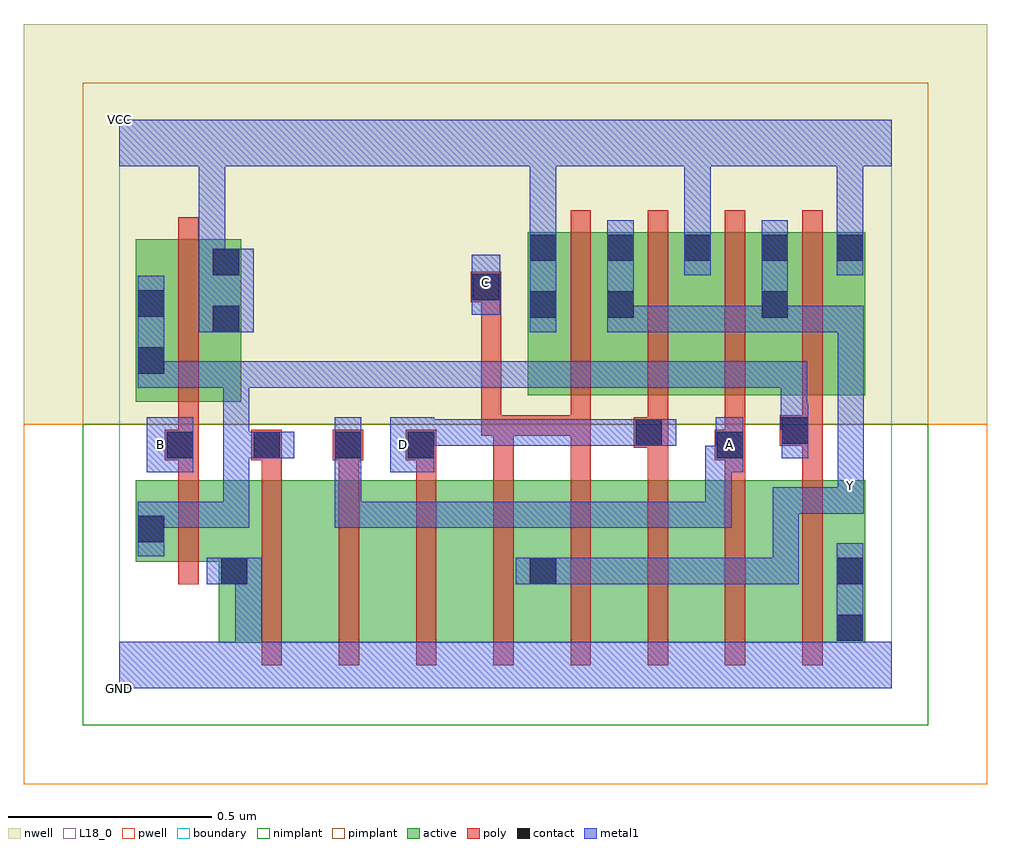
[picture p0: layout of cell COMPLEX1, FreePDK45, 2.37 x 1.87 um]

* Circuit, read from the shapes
.subckt COMPLEX1 A B C D GND VCC Y
M1 GND B n1 VSUBS nfet w=0.2u l=0.05u
M2 n2 n1 GND VSUBS nfet w=0.4u l=0.05u
M3 n3 A n2 VSUBS nfet w=0.4u l=0.05u
M4 n4 D n3 VSUBS nfet w=0.4u l=0.05u
M5 Y C n4 VSUBS nfet w=0.4u l=0.05u
M6 n5 C Y VSUBS nfet w=0.4u l=0.05u
M7 n6 D n5 VSUBS nfet w=0.4u l=0.05u
M8 n7 A n6 VSUBS nfet w=0.4u l=0.05u
M9 GND n1 n7 VSUBS nfet w=0.4u l=0.05u
M10 VCC B n1 n8 pfet w=0.4u l=0.05u
M11 Y C VCC n8 pfet w=0.4u l=0.05u
M12 VCC D Y n8 pfet w=0.4u l=0.05u
M13 Y A VCC n8 pfet w=0.4u l=0.05u
M14 VCC n1 Y n8 pfet w=0.4u l=0.05u
.ends

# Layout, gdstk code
import gdstk
lib = gdstk.Library(unit=1e-6, precision=1e-09)
def R(c, l, rs):  # rectangles x0, y0, x1, y1
    for r in rs: c.add(gdstk.rectangle(r[:2], r[2:], *l))
def A(c, l, x, y, w, h, nx, ny, dx, dy):  # array of equal rectangles
    R(c, l, [(x+i*dx, y+j*dy, x+i*dx+w, y+j*dy+h) for i in range(nx) for j in range(ny)])
active = (1, 0)
pwell = (2, 0)
nwell = (3, 0)
nimplant = (4, 0)
pimplant = (5, 0)
poly = (9, 0)
contact = (10, 0)
metal1 = (11, 0)
L18_0 = (18, 0)
boundary = (235, 0)

complex1 = lib.new_cell('COMPLEX1')
A(complex1, active, 1.005, 0.722, 0.265, 0.4, 3, 1, 0.19, 0)
R(complex1, active, [(0.245,0.112,0.47,0.512), (0.47,0.112,0.66,0.512), (0.66,0.112,0.85,0.512), (0.85,0.112,1.08,0.512), (1.005,0.112,1.23,0.512), (1.23,0.112,1.42,0.512), (1.42,0.112,1.61,0.512), (1.61,0.112,1.835,0.512), (1.76,0.112,1.835,0.512), (1.005,0.195,1.08,0.492), (0.245,0.252,0.32,0.327), (0.04,0.312,0.32,0.512), (0.04,0.355,0.115,0.512), (0.04,0.705,0.115,1.105), (0.04,0.705,0.3,1.105), (0.225,0.705,0.3,1.105), (1.575,0.722,1.835,1.122), (1.76,0.722,1.835,1.122), (1.005,0.755,1.08,1.122), (1.195,0.802,1.27,1.122), (1.575,0.802,1.65,1.122), (1.385,0.907,1.46,1.122)])
R(complex1, pwell, [(-0.235,-0.235,2.135,0.65)])
R(complex1, nwell, [(-0.235,0.65,2.135,1.635)])
R(complex1, nimplant, [(-0.09,-0.09,1.99,0.65)])
R(complex1, pimplant, [(-0.09,0.65,1.99,1.49)])
A(complex1, poly, 0.35, 0.057, 0.05, 0.51, 8, 1, 0.19, 0)
A(complex1, poly, 0.35, 0.517, 0.05, 0.095, 3, 1, 0.19, 0)
A(complex1, poly, 1.11, 0.667, 0.05, 0.51, 4, 1, 0.19, 0)
R(complex1, poly, [(0.145,0.257,0.195,0.567), (0.145,0.517,0.195,0.612), (0.92,0.517,0.97,0.672), (1.11,0.517,1.16,0.672), (1.3,0.517,1.35,0.642), (1.49,0.517,1.54,0.612), (1.68,0.517,1.73,0.647), (0.112,0.562,0.195,0.637), (0.325,0.562,0.4,0.637), (0.525,0.562,0.6,0.637), (0.705,0.562,0.78,0.637), (1.465,0.562,1.54,0.637), (0.145,0.587,0.195,0.7), (1.49,0.587,1.54,0.717), (1.265,0.592,1.35,0.667), (1.625,0.597,1.73,0.672), (1.3,0.617,1.35,0.717), (0.89,0.622,0.94,1), (0.89,0.622,0.955,0.672), (0.905,0.622,0.955,0.672), (0.905,0.622,0.97,0.672), (0.92,0.622,1.16,0.672), (0.92,0.622,0.97,0.672), (0.92,0.622,0.97,0.672), (1.11,0.622,1.16,0.717), (1.11,0.622,1.16,0.672), (1.68,0.622,1.73,0.717), (0.145,0.65,0.195,1.16), (0.865,0.95,0.94,1.025)])
A(complex1, contact, 1.01, 1.052, 0.065, 0.065, 4, 1, 0.19, 0)
R(complex1, contact, [(1.765,0.117,1.83,0.182), (0.25,0.257,0.315,0.322), (1.01,0.257,1.075,0.322), (1.765,0.257,1.83,0.322), (0.045,0.36,0.11,0.425), (0.117,0.567,0.182,0.632), (0.33,0.567,0.395,0.632), (0.53,0.567,0.595,0.632), (0.71,0.567,0.775,0.632), (1.47,0.567,1.535,0.632), (1.27,0.597,1.335,0.662), (1.63,0.602,1.695,0.667), (0.045,0.775,0.11,0.84), (0.23,0.877,0.295,0.942), (1.01,0.912,1.075,0.977), (1.2,0.912,1.265,0.977), (1.58,0.912,1.645,0.977), (0.045,0.915,0.11,0.98), (0.87,0.955,0.935,1.02), (0.23,1.017,0.295,1.082), (1.765,1.052,1.83,1.117)])
R(complex1, metal1, [(0,0,1.9,0.115), (0.285,0.05,0.35,0.322), (1.765,0.05,1.83,0.147), (1.765,0.082,1.83,0.357), (0.215,0.257,0.35,0.322), (0.975,0.257,1.11,0.322), (1.045,0.257,1.11,0.322), (1.045,0.257,1.11,0.322), (1.045,0.257,1.317,0.322), (1.252,0.257,1.317,0.322), (1.252,0.257,1.317,0.322), (1.252,0.257,1.317,0.322), (1.252,0.257,1.507,0.322), (1.442,0.257,1.507,0.322), (1.442,0.257,1.507,0.322), (1.442,0.257,1.507,0.322), (1.442,0.257,1.672,0.322), (1.607,0.257,1.672,0.322), (1.607,0.257,1.672,0.495), (0.045,0.325,0.11,0.46), (0.045,0.395,0.11,0.46), (0.045,0.395,0.11,0.46), (0.045,0.395,0.32,0.46), (0.255,0.395,0.32,0.46), (0.255,0.395,0.32,0.632), (0.53,0.395,0.595,0.46), (0.53,0.395,0.595,0.597), (0.53,0.395,0.795,0.46), (0.73,0.395,0.795,0.46), (0.73,0.395,0.795,0.46), (0.73,0.395,0.795,0.46), (0.73,0.395,0.932,0.46), (0.867,0.395,0.932,0.46), (0.867,0.395,1.127,0.46), (1.062,0.395,1.127,0.46), (1.062,0.395,1.127,0.46), (1.062,0.395,1.127,0.46), (1.062,0.395,1.265,0.46), (1.2,0.395,1.265,0.46), (1.2,0.395,1.265,0.46), (1.2,0.395,1.265,0.46), (1.2,0.395,1.507,0.46), (1.442,0.395,1.507,0.46), (1.442,0.395,1.507,0.597), (1.607,0.43,1.672,0.495), (1.607,0.43,1.832,0.495), (1.767,0.43,1.832,0.495), (1.767,0.43,1.832,0.495), (1.767,0.43,1.832,0.495), (1.767,0.43,1.832,0.495), (1.767,0.43,1.832,0.567), (1.767,0.502,1.832,0.942), (0.067,0.532,0.182,0.667), (0.53,0.532,0.595,0.597), (0.53,0.532,0.595,0.597), (0.53,0.532,0.595,0.667), (0.667,0.532,0.775,0.667), (1.442,0.532,1.507,0.597), (1.442,0.532,1.532,0.597), (1.467,0.532,1.535,0.667), (0.255,0.567,0.32,0.632), (0.255,0.567,0.32,0.805), (0.255,0.567,0.36,0.632), (0.295,0.567,0.43,0.632), (1.63,0.567,1.695,0.702), (0.71,0.597,0.775,0.662), (0.71,0.597,0.775,0.662), (0.71,0.597,0.932,0.662), (0.867,0.597,0.932,0.662), (0.867,0.597,1.07,0.662), (1.005,0.597,1.07,0.662), (1.005,0.597,1.07,0.662), (1.005,0.597,1.07,0.662), (1.005,0.597,1.3,0.662), (1.235,0.597,1.3,0.662), (1.235,0.597,1.3,0.662), (1.235,0.597,1.37,0.662), (1.627,0.637,1.692,0.702), (1.627,0.637,1.695,0.702), (1.627,0.637,1.692,0.805), (0.045,0.74,0.11,0.805), (0.045,0.74,0.11,0.805), (0.045,0.74,0.11,1.015), (0.045,0.74,0.32,0.805), (0.255,0.74,0.32,0.805), (0.255,0.74,0.32,0.805), (0.255,0.74,0.32,0.805), (0.255,0.74,0.457,0.805), (0.392,0.74,0.457,0.805), (0.392,0.74,0.457,0.805), (0.392,0.74,0.457,0.805), (0.392,0.74,0.595,0.805), (0.53,0.74,0.595,0.805), (0.53,0.74,0.795,0.805), (0.73,0.74,0.795,0.805), (0.73,0.74,0.795,0.805), (0.73,0.74,0.795,0.805), (0.73,0.74,0.932,0.805), (0.867,0.74,0.932,0.805), (0.867,0.74,1.127,0.805), (1.062,0.74,1.127,0.805), (1.062,0.74,1.127,0.805), (1.062,0.74,1.127,0.805), (1.062,0.74,1.317,0.805), (1.252,0.74,1.317,0.805), (1.252,0.74,1.317,0.805), (1.252,0.74,1.317,0.805), (1.252,0.74,1.507,0.805), (1.442,0.74,1.507,0.805), (1.442,0.74,1.507,0.805), (1.442,0.74,1.507,0.805), (1.442,0.74,1.692,0.805), (1.627,0.74,1.692,0.805), (0.195,0.877,0.33,1.082), (1.01,0.877,1.075,1.152), (1.2,0.877,1.265,0.942), (1.2,0.877,1.265,0.942), (1.2,0.877,1.265,1.152), (1.2,0.877,1.507,0.942), (1.442,0.877,1.507,0.942), (1.442,0.877,1.507,0.942), (1.442,0.877,1.507,0.942), (1.442,0.877,1.645,0.942), (1.58,0.877,1.645,1.152), (1.58,0.877,1.832,0.942), (1.767,0.877,1.832,0.942), (1.767,0.877,1.832,0.942), (1.767,0.877,1.832,0.942), (1.767,0.877,1.832,0.942), (1.767,0.877,1.832,0.942), (0.867,0.92,0.937,1.067), (0.195,1.017,0.26,1.082), (0.195,1.017,0.26,1.082), (0.195,1.017,0.26,1.35), (1.39,1.017,1.455,1.152), (1.765,1.017,1.83,1.152), (1.01,1.087,1.075,1.35), (1.39,1.087,1.455,1.152), (1.39,1.087,1.455,1.152), (1.39,1.087,1.455,1.35), (1.765,1.087,1.83,1.152), (1.765,1.087,1.83,1.152), (1.765,1.087,1.83,1.35), (0,1.285,1.9,1.4), (1.01,1.285,1.075,1.35), (1.01,1.285,1.075,1.35)])
R(complex1, L18_0, [(0,0,1.9,0.115), (0.285,0.05,0.35,0.322), (1.765,0.05,1.83,0.147), (1.765,0.082,1.83,0.357), (0.215,0.257,0.35,0.322), (0.975,0.257,1.11,0.322), (1.045,0.257,1.11,0.322), (1.045,0.257,1.11,0.322), (1.045,0.257,1.317,0.322), (1.252,0.257,1.317,0.322), (1.252,0.257,1.317,0.322), (1.252,0.257,1.317,0.322), (1.252,0.257,1.507,0.322), (1.442,0.257,1.507,0.322), (1.442,0.257,1.507,0.322), (1.442,0.257,1.507,0.322), (1.442,0.257,1.672,0.322), (1.607,0.257,1.672,0.322), (1.607,0.257,1.672,0.495), (0.53,0.395,0.595,0.46), (0.53,0.395,0.595,0.597), (0.53,0.395,0.795,0.46), (0.73,0.395,0.795,0.46), (0.73,0.395,0.795,0.46), (0.73,0.395,0.795,0.46), (0.73,0.395,0.932,0.46), (0.867,0.395,0.932,0.46), (0.867,0.395,1.127,0.46), (1.062,0.395,1.127,0.46), (1.062,0.395,1.127,0.46), (1.062,0.395,1.127,0.46), (1.062,0.395,1.265,0.46), (1.2,0.395,1.265,0.46), (1.2,0.395,1.265,0.46), (1.2,0.395,1.265,0.46), (1.2,0.395,1.507,0.46), (1.442,0.395,1.507,0.46), (1.442,0.395,1.507,0.597), (1.607,0.43,1.672,0.495), (1.607,0.43,1.832,0.495), (1.767,0.43,1.832,0.495), (1.767,0.43,1.832,0.495), (1.767,0.43,1.832,0.495), (1.767,0.43,1.832,0.495), (1.767,0.43,1.832,0.567), (1.767,0.467,1.832,0.532), (1.767,0.502,1.832,0.942), (0.067,0.532,0.182,0.667), (0.53,0.532,0.595,0.597), (0.53,0.532,0.595,0.597), (0.53,0.532,0.595,0.667), (0.667,0.532,0.775,0.667), (1.442,0.532,1.507,0.597), (1.442,0.532,1.532,0.597), (1.467,0.532,1.535,0.667), (0.067,0.567,0.132,0.632), (0.667,0.567,0.732,0.632), (1.467,0.567,1.532,0.632), (0.71,0.597,0.775,0.662), (0.71,0.597,0.775,0.662), (0.71,0.597,0.932,0.662), (0.867,0.597,0.932,0.662), (0.867,0.597,1.07,0.662), (1.005,0.597,1.07,0.662), (1.005,0.597,1.07,0.662), (1.005,0.597,1.07,0.662), (1.005,0.597,1.3,0.662), (1.235,0.597,1.37,0.662), (1.235,0.597,1.3,0.662), (1.235,0.597,1.3,0.662), (0.195,0.877,0.33,1.082), (1.01,0.877,1.075,1.152), (1.2,0.877,1.265,0.942), (1.2,0.877,1.265,0.942), (1.2,0.877,1.265,1.152), (1.2,0.877,1.507,0.942), (1.442,0.877,1.507,0.942), (1.442,0.877,1.507,0.942), (1.442,0.877,1.507,0.942), (1.442,0.877,1.645,0.942), (1.58,0.877,1.645,1.152), (1.58,0.877,1.832,0.942), (1.767,0.877,1.832,0.942), (1.767,0.877,1.832,0.942), (1.767,0.877,1.832,0.942), (1.767,0.877,1.832,0.942), (1.767,0.877,1.832,0.942), (0.867,0.92,0.937,1.067), (0.867,0.967,0.932,1.032), (0.195,1.017,0.26,1.082), (0.195,1.017,0.26,1.082), (0.195,1.017,0.26,1.35), (1.39,1.017,1.455,1.152), (1.765,1.017,1.83,1.152), (1.01,1.087,1.075,1.35), (1.39,1.087,1.455,1.152), (1.39,1.087,1.455,1.152), (1.39,1.087,1.455,1.35), (1.765,1.087,1.83,1.152), (1.765,1.087,1.83,1.152), (1.765,1.087,1.83,1.35), (0,1.285,1.9,1.4), (1.01,1.285,1.075,1.35), (1.01,1.285,1.075,1.35)])
R(complex1, boundary, [(0,0,1.9,1.4)])
complex1.add(gdstk.Label('A', (1.5,0.6), layer=11, texttype=0))
complex1.add(gdstk.Label('B', (0.1,0.6), layer=11, texttype=0))
complex1.add(gdstk.Label('C', (0.9,1), layer=11, texttype=0))
complex1.add(gdstk.Label('D', (0.7,0.6), layer=11, texttype=0))
complex1.add(gdstk.Label('Y', (1.8,0.5), layer=11, texttype=0))
complex1.add(gdstk.Label('VCC', (0,1.4), layer=11, texttype=0))
complex1.add(gdstk.Label('GND', (0,0), layer=11, texttype=0))

lib.write_gds('COMPLEX1.gds')
